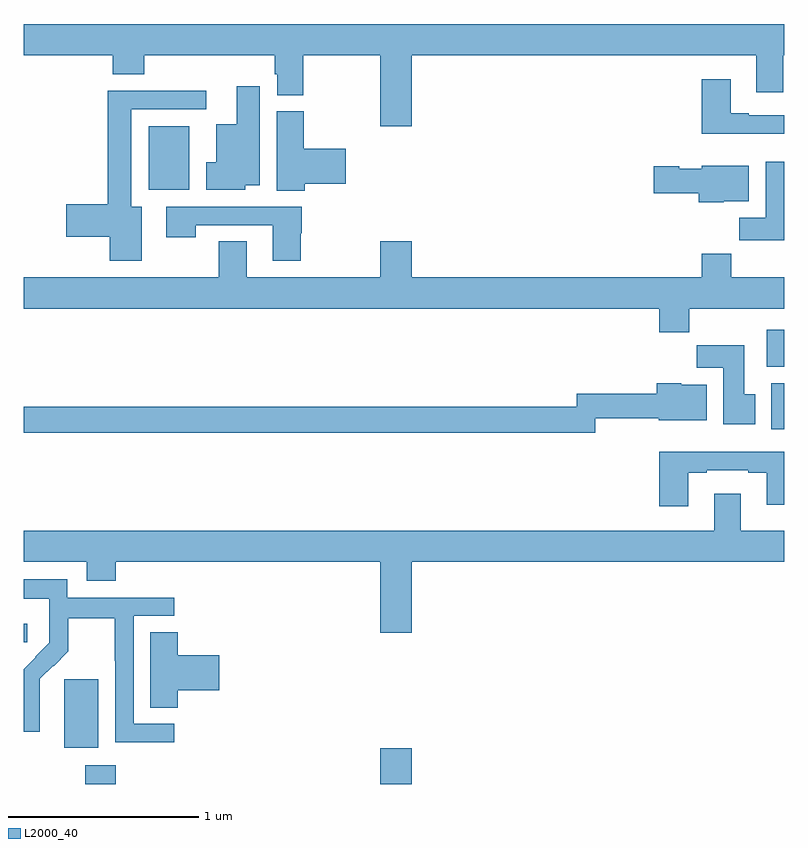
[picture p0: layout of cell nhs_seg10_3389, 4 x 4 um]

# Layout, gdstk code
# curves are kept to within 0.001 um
import gdstk
lib = gdstk.Library(unit=1e-6, precision=1e-09)
def R(c, l, rs):  # rectangles x0, y0, x1, y1
    for r in rs: c.add(gdstk.rectangle(r[:2], r[2:], *l))
def P(c, l, *ps):  # polygons
    for p in ps: c.add(gdstk.Polygon(p, *l))
L2000_40 = (2000, 40)

nhs_seg10_3389 = lib.new_cell('nhs_seg10_3389')
R(nhs_seg10_3389, L2000_40, [(295.324,1280.5,295.484,1280.599), (296.876,1280.5,297.04,1280.689), (295.214,1280.69,295.393,1281.051), (295,1281.246,295.018,1281.343), (298.931,1282.364,299,1282.606), (298.907,1282.694,299,1282.888), (295.658,1283.624,295.87,1283.959)])
P(nhs_seg10_3389, L2000_40, [(297.04,1284.332),(298.853,1284.332),(298.853,1284.138),(298.993,1284.138),(298.993,1284.332),(299,1284.332),(299,1284.496),(295,1284.496),(295,1284.332),(295.469,1284.332),(295.469,1284.233),(295.634,1284.233),(295.634,1284.332),(296.321,1284.332),(296.321,1284.231),(296.333,1284.231),(296.333,1284.121),(296.469,1284.121),(296.469,1284.332),(296.876,1284.332),(296.876,1283.958),(297.04,1283.958)],
  [(299,1284.015),(298.813,1284.015),(298.813,1284.028),(298.717,1284.028),(298.717,1284.205),(298.565,1284.205),(298.565,1283.918),(299,1283.918)],
  [(296.166,1283.648),(296.242,1283.648),(296.242,1284.169),(296.12,1284.169),(296.12,1283.968),(296.012,1283.968),(296.012,1283.77),(295.961,1283.77),(295.961,1283.624),(296.166,1283.624)],
  [(295.621,1283.536),(295.567,1283.536),(295.567,1284.048),(295.96,1284.048),(295.96,1284.146),(295.442,1284.146),(295.442,1283.549),(295.224,1283.549),(295.224,1283.378),(295.454,1283.378),(295.454,1283.25),(295.621,1283.25)],
  [(296.477,1283.657),(296.695,1283.657),(296.695,1283.84),(296.472,1283.84),(296.472,1284.036),(296.33,1284.036),(296.33,1283.62),(296.477,1283.62)],
  [(299,1283.773),(298.901,1283.773),(298.901,1283.476),(298.762,1283.476),(298.762,1283.358),(299,1283.358)],
  [(298.68,1283.564),(298.813,1283.564),(298.813,1283.752),(298.566,1283.752),(298.566,1283.734),(298.446,1283.734),(298.446,1283.747),(298.314,1283.747),(298.314,1283.605),(298.55,1283.605),(298.55,1283.558),(298.68,1283.558)],
  [(296.457,1283.397),(296.462,1283.397),(296.462,1283.535),(295.749,1283.535),(295.749,1283.376),(295.905,1283.376),(295.905,1283.439),(296.309,1283.439),(296.309,1283.25),(296.457,1283.25)],
  [(296.876,1283.353),(296.876,1283.164),(296.173,1283.164),(296.173,1283.354),(296.026,1283.354),(296.026,1283.164),(295,1283.164),(295,1283),(298.343,1283),(298.343,1282.876),(298.499,1282.876),(298.499,1283),(299,1283),(299,1283.164),(298.721,1283.164),(298.721,1283.288),(298.565,1283.288),(298.565,1283.164),(297.04,1283.164),(297.04,1283.353)],
  [(298.846,1282.548),(298.789,1282.548),(298.789,1282.806),(298.54,1282.806),(298.54,1282.688),(298.679,1282.688),(298.679,1282.392),(298.846,1282.392)],
  [(298.005,1282.423),(298.34,1282.423),(298.34,1282.412),(298.591,1282.412),(298.591,1282.6),(298.458,1282.6),(298.458,1282.606),(298.328,1282.606),(298.328,1282.552),(297.909,1282.552),(297.909,1282.484),(295,1282.484),(295,1282.348),(298.005,1282.348)],
  [(298.495,1282.137),(298.591,1282.137),(298.591,1282.149),(298.811,1282.149),(298.811,1282.137),(298.907,1282.137),(298.907,1281.968),(299,1281.968),(299,1282.246),(298.343,1282.246),(298.343,1281.96),(298.495,1281.96)],
  [(297.04,1281.668),(299,1281.668),(299,1281.832),(298.771,1281.832),(298.771,1282.027),(298.631,1282.027),(298.631,1281.832),(295,1281.832),(295,1281.668),(295.331,1281.668),(295.331,1281.569),(295.484,1281.569),(295.484,1281.668),(296.876,1281.668),(296.876,1281.294),(297.04,1281.294)],
  [(295.792,1280.817),(295.578,1280.817),(295.578,1281.384),(295.792,1281.384),(295.792,1281.48),(295.23,1281.48),(295.23,1281.577),(295,1281.577),(295,1281.473),(295.134,1281.473),(295.134,1281.339),(295.136,1281.339),(295.136,1281.242),(295,1281.104),(295,1280.776),(295.086,1280.776),(295.085,1281.053),(295.155,1281.123),(295.158,1281.12),(295.235,1281.197),(295.235,1281.372),(295.48,1281.372),(295.48,1281.148),(295.482,1281.148),(295.482,1280.719),(295.792,1280.719)],
  [(295.811,1280.993),(296.029,1280.993),(296.029,1281.176),(295.811,1281.176),(295.811,1281.299),(295.667,1281.299),(295.667,1280.902),(295.811,1280.902)])

lib.write_gds('nhs_seg10_3389.gds')
